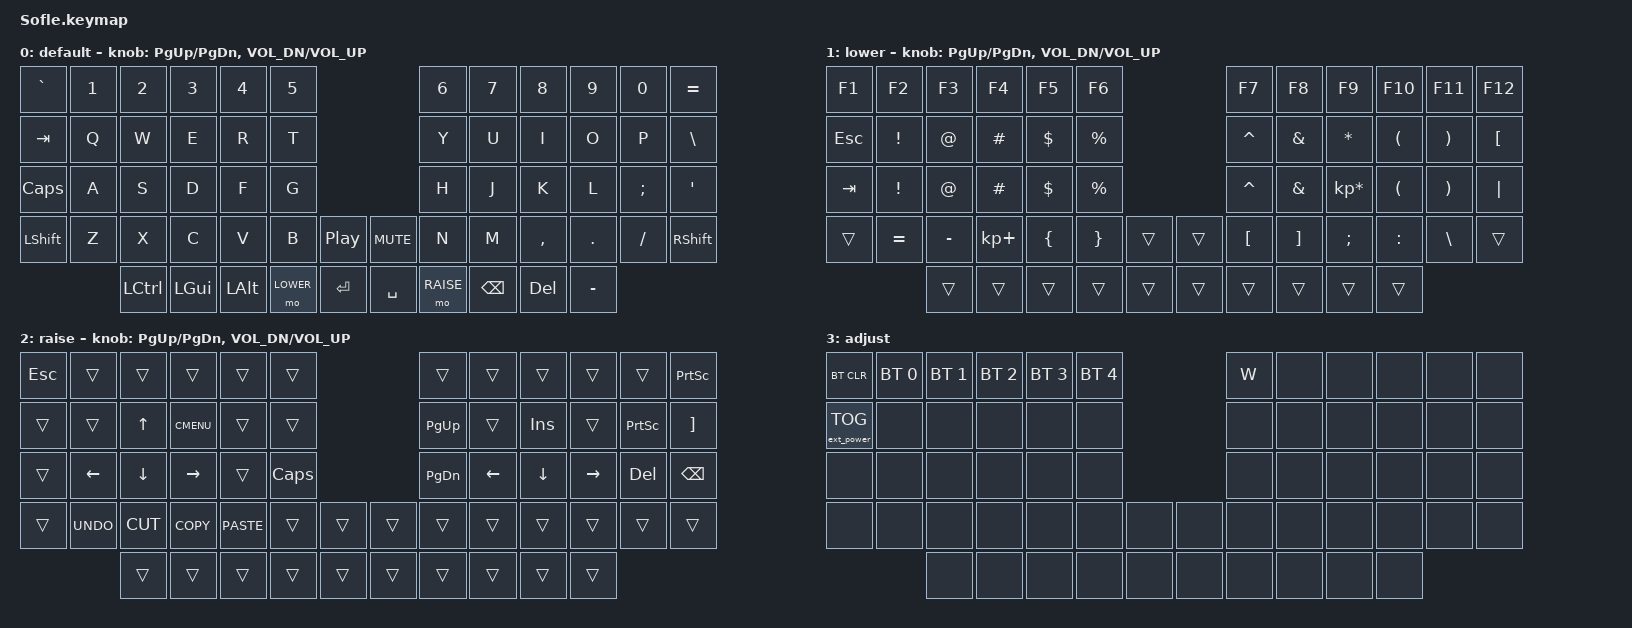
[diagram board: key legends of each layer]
/*
 * Copyright (c) 2020 The ZMK Contributors
 *
 * SPDX-License-Identifier: MIT
 */

#include <behaviors.dtsi>
#include <dt-bindings/zmk/bt.h>
#include <dt-bindings/zmk/ext_power.h>
#include <dt-bindings/zmk/keys.h>

#define BASE 0
#define LOWER 1
#define RAISE 2
#define ADJUST 3

/ {
    // Activate ADJUST layer by pressing raise and lower

    conditional_layers {
        compatible = "zmk,conditional-layers";

        adjust_layer {
            if-layers = <LOWER RAISE>;
            then-layer = <ADJUST>;
        };
    };

    keymap {
        compatible = "zmk,keymap";

        default_layer {
            display-name = "default";

            // ------------------------------------------------------------------------------------------------------------
            // |  `~   |  1  |  2  |  3   |  4   |  5   |                   |  6   |  7    |  8    |  9   |   0   |   =   |
            // |  TAB  |  Q  |  W  |  E   |  R   |  T   |                   |  Y   |  U    |  I    |  O   |   P   |  \ |  |
            // | CAPS  |  A  |  S  |  D   |  F   |  G   |                   |  H   |  J    |  K    |  L   |   ;   |   '   |
            // | SHIFT |  Z  |  X  |  C   |  V   |  B   |  PLAY  |  | MUTE  |  N   |  M    |  ,    |  .   |   /   | SHIFT |
            //               | CTRL| GUI  | ALT  | LOWER|  ENTER |  | SPACE | RAISE| BKSPC | DEL   | - _  |

            bindings = <
&kp GRAVE     &kp N1  &kp N2          &kp N3    &kp N4     &kp N5                              &kp N6     &kp N7         &kp N8      &kp N9        &kp N0    &kp EQUAL
&kp TAB       &kp Q   &kp W           &kp E     &kp R      &kp T                               &kp Y      &kp U          &kp I       &kp O         &kp P     &kp BSLH
&kp CAPSLOCK  &kp A   &kp S           &kp D     &kp F      &kp G                               &kp H      &kp J          &kp K       &kp L         &kp SEMI  &kp SQT
&kp LSHFT     &kp Z   &kp X           &kp C     &kp V      &kp B      &kp C_PP      &kp C_MUTE &kp N      &kp M          &kp COMMA   &kp DOT       &kp FSLH  &kp RSHFT
                      &kp LCTRL       &kp LGUI  &kp LALT   &mo LOWER  &kp ENTER     &kp SPACE  &mo RAISE  &kp BACKSPACE  &kp DELETE  &kp MINUS
            >;

            sensor-bindings = <&inc_dec_kp PG_UP PG_DN &inc_dec_kp C_VOL_DN C_VOL_UP>;
        };

        lower_layer {
            display-name = "lower";

            // TODO: Some binds are waiting for shifted keycode support.
            // ------------------------------------------------------------------------------------------------------------
            // |  F1   |  F2 |  F3 |  F4  |  F5  |  F6  |                   |  F7  |  F8   |  F9   |  F10 |  F11  |  F12  |
            // |  ESC  |  !  |  @  |  #   |  $   |  %   |                   |  ^   |  &    |  *    |  (   |   )   |  [ {  |
            // |       |  !  |  @  |  #   |  $   |  %   |                   |  ^   |  &    |  *    |  (   |   )   |   |   |
            // |       |  =  |  -  |  +   |  {   |  }   |        |  |       |  [   |  ]    |  ;    |  :   |   \   |       |
            //               |     |      |      |      |        |  |       |      |       |       |      |

            bindings = <
&kp F1   &kp F2           &kp F3       &kp F4       &kp F5      &kp F6                         &kp F7     &kp F8         &kp F9           &kp F10               &kp F11                &kp F12
&kp ESC  &kp EXCLAMATION  &kp AT_SIGN  &kp HASH     &kp DOLLAR  &kp PERCENT                    &kp CARET  &kp AMPERSAND  &kp ASTERISK     &kp LEFT_PARENTHESIS  &kp RIGHT_PARENTHESIS  &kp LBKT
&kp TAB  &kp EXCL         &kp AT       &kp HASH     &kp DLLR    &kp PRCNT                      &kp CARET  &kp AMPS       &kp KP_MULTIPLY  &kp LPAR              &kp RPAR               &kp PIPE
&trans   &kp EQUAL        &kp MINUS    &kp KP_PLUS  &kp LBRC    &kp RBRC     &trans    &trans  &kp LBKT   &kp RBKT       &kp SEMI         &kp COLON             &kp BSLH               &trans
                          &trans       &trans       &trans      &trans       &trans    &trans  &trans     &trans         &trans           &trans
            >;

            sensor-bindings = <&inc_dec_kp PG_UP PG_DN &inc_dec_kp C_VOL_DN C_VOL_UP>;
        };

        raise_layer {
            display-name = "raise";

            // ------------------------------------------------------------------------------------------------------------
            // |  ESC  |      |      |       |       |      |                |      |      |       |      |       | PSCR  |
            // |       |      |  ^   | MENU  |       |      |                | PGUP |      |  INS  |      | PSCR  |  ] }  |
            // |       |  <-  |  v   |  ->   |       | CAPS |                | PGDN |   <- |   v   |  ->  |  DEL  | BKSPC |
            // |       | UNDO | CUT  | COPY  | PASTE |      |      |  |      |      |      |       |      |       |       |
            //                |      |       |       |      |      |  |      |      |      |       |      |

            bindings = <
&kp ESC     &trans        &trans        &trans        &trans        &trans                          &trans     &trans    &trans    &trans     &trans   &kp PSCRN
&trans      &trans        &kp UP        &kp K_CMENU   &trans        &trans                          &kp PG_UP  &trans    &kp INS   &trans     &kp PSCRN &kp RBKT
&trans      &kp LEFT      &kp DOWN      &kp RIGHT     &trans        &kp CLCK                        &kp PG_DN  &kp LEFT  &kp DOWN  &kp RIGHT  &kp DEL  &kp BSPC
&trans      &kp K_UNDO    &kp K_CUT     &kp K_COPY    &kp K_PASTE   &trans        &trans    &trans  &trans     &trans    &trans    &trans     &trans   &trans
                          &trans        &trans        &trans        &trans        &trans    &trans  &trans     &trans    &trans    &trans
            >;

            sensor-bindings = <&inc_dec_kp PG_UP PG_DN &inc_dec_kp C_VOL_DN C_VOL_UP>;
        };

        adjust_layer {
            // ----------------------------------------------------------------------------------------------------------------------------
            // | BTCLR  |  BT1    |  BT2    |   BT3   |   BT4   |   BT5   |                  |  W   |      |       |      |       |       |
            // | EXTPWR |         |         |         |         |         |                  |      |      |       |      |       |       |
            // |        |         |         |         |         |         |                  |      |      |       |      |       |       |
            // |        |         |         |         |         |         |         | |      |      |      |       |      |       |       |
            //                    |         |         |         |         |         | |      |      |      |       |      |

            display-name = "adjust";
            bindings = <
&bt BT_CLR         &bt BT_SEL 0     &bt BT_SEL 1     &bt BT_SEL 2     &bt BT_SEL 3     &bt BT_SEL 4                               &kp W  &none  &none  &none  &none  &none
&ext_power EP_TOG  &none            &none            &none            &none            &none                                      &none  &none  &none  &none  &none  &none
&none              &none            &none            &none            &none            &none                                      &none  &none  &none  &none  &none  &none
&none              &none            &none            &none            &none            &none            &none              &none  &none  &none  &none  &none  &none  &none
                                    &none            &none            &none            &none            &none              &none  &none  &none  &none  &none
            >;
        };

        extra1 {
            status = "reserved";
        };
        extra2 {
            status = "reserved";
        };
        extra3 {
            status = "reserved";
        };
        extra4 {
            status = "reserved";
        };
    };
};
